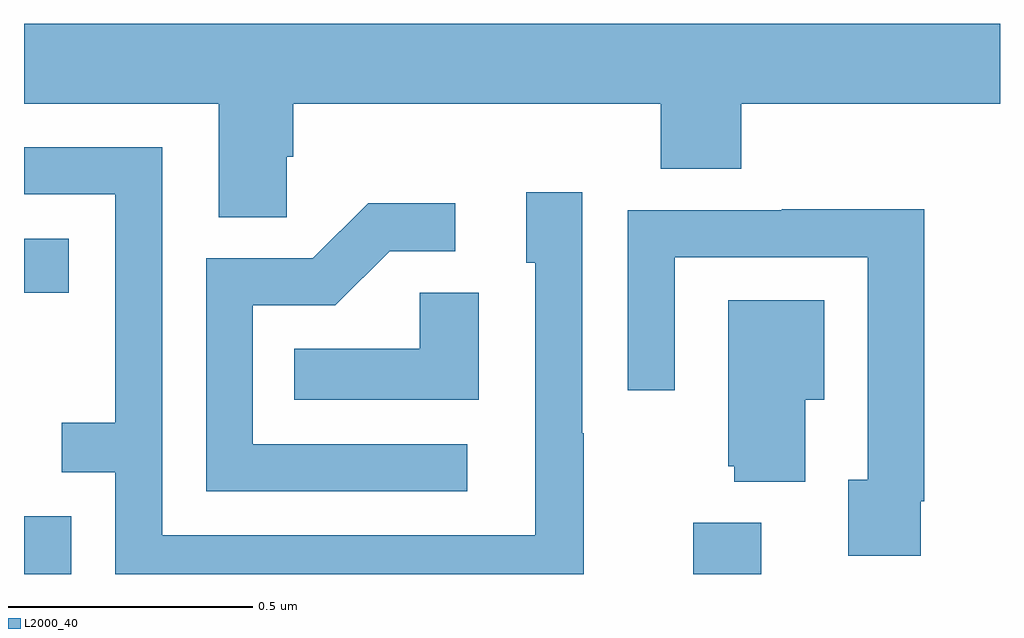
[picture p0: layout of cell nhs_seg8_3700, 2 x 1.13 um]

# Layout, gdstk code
import gdstk
lib = gdstk.Library(unit=1e-6, precision=1e-09)
def R(c, l, rs):  # rectangles x0, y0, x1, y1
    for r in rs: c.add(gdstk.rectangle(r[:2], r[2:], *l))
def P(c, l, *ps):  # polygons
    for p in ps: c.add(gdstk.Polygon(p, *l))
L2000_40 = (2000, 40)

nhs_seg8_3700 = lib.new_cell('nhs_seg8_3700')
R(nhs_seg8_3700, L2000_40, [(161,1084.9,161.097,1085.019), (162.371,1084.9,162.511,1085.005), (161,1085.477,161.092,1085.587)])
P(nhs_seg8_3700, L2000_40, [(161.538,1085.755),(161.552,1085.755),(161.552,1085.864),(162.305,1085.864),(162.305,1085.731),(162.47,1085.731),(162.47,1085.864),(163,1085.864),(163,1086.028),(161,1086.028),(161,1085.864),(161.399,1085.864),(161.399,1085.632),(161.538,1085.632)],
  [(162.147,1085.189),(162.144,1085.189),(162.144,1085.683),(162.029,1085.683),(162.029,1085.538),(162.048,1085.538),(162.048,1084.98),(161.283,1084.98),(161.283,1085.775),(161,1085.775),(161,1085.679),(161.187,1085.679),(161.187,1085.21),(161.077,1085.21),(161.077,1085.109),(161.187,1085.109),(161.187,1084.9),(162.147,1084.9)],
  [(161.908,1085.166),(161.469,1085.166),(161.469,1085.451),(161.638,1085.451),(161.749,1085.562),(161.884,1085.562),(161.884,1085.66),(161.705,1085.66),(161.592,1085.547),(161.373,1085.547),(161.373,1085.07),(161.908,1085.07)],
  [(162.838,1085.05),(162.845,1085.05),(162.845,1085.648),(162.553,1085.648),(162.553,1085.646),(162.237,1085.646),(162.237,1085.277),(162.333,1085.277),(162.333,1085.55),(162.729,1085.55),(162.729,1085.094),(162.689,1085.094),(162.689,1084.938),(162.838,1084.938)],
  [(161.932,1085.477),(161.811,1085.477),(161.811,1085.362),(161.554,1085.362),(161.554,1085.258),(161.932,1085.258)],
  [(162.601,1085.258),(162.64,1085.258),(162.64,1085.461),(162.443,1085.461),(162.443,1085.121),(162.455,1085.121),(162.455,1085.09),(162.601,1085.09)])

lib.write_gds('nhs_seg8_3700.gds')
